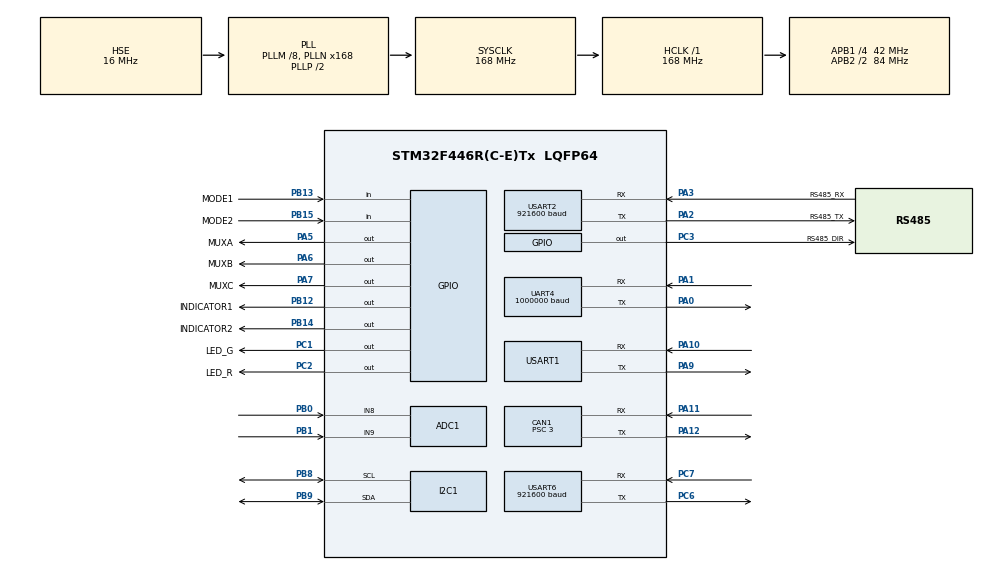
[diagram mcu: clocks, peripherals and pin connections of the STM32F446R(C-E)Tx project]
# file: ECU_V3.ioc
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ADC1.Channel-10\#ChannelRegularConversion=ADC_CHANNEL_8
ADC1.Channel-11\#ChannelRegularConversion=ADC_CHANNEL_9
ADC1.ClockPrescaler=ADC_CLOCK_SYNC_PCLK_DIV4
ADC1.ContinuousConvMode=ENABLE
ADC1.DMAContinuousRequests=ENABLE
ADC1.NbrOfConversion=2
ADC1.NbrOfConversionFlag=1
ADC1.Rank-10\#ChannelRegularConversion=1
ADC1.Rank-11\#ChannelRegularConversion=2
ADC1.SamplingTime-10\#ChannelRegularConversion=ADC_SAMPLETIME_480CYCLES
ADC1.SamplingTime-11\#ChannelRegularConversion=ADC_SAMPLETIME_480CYCLES
ADC1.master=1
CAN1.BS1=CAN_BS1_10TQ
CAN1.BS2=CAN_BS2_3TQ
CAN1.CalculateBaudRate=1000000
CAN1.CalculateTimeBit=1000
CAN1.CalculateTimeQuantum=71.42857142857143
CAN1.Prescaler=3
CAN1.SJW=CAN_SJW_3TQ
CAN1.TXFP=ENABLE
Dma.ADC1.4.Direction=DMA_PERIPH_TO_MEMORY
Dma.ADC1.4.FIFOMode=DMA_FIFOMODE_DISABLE
Dma.ADC1.4.Instance=DMA2_Stream0
Dma.ADC1.4.MemDataAlignment=DMA_MDATAALIGN_HALFWORD
Dma.ADC1.4.MemInc=DMA_MINC_ENABLE
Dma.ADC1.4.Mode=DMA_CIRCULAR
Dma.ADC1.4.PeriphDataAlignment=DMA_PDATAALIGN_HALFWORD
Dma.ADC1.4.PeriphInc=DMA_PINC_DISABLE
Dma.ADC1.4.Priority=DMA_PRIORITY_LOW
Dma.Request0=USART1_RX
Dma.Request1=USART2_RX
Dma.Request2=USART2_TX
Dma.Request3=USART6_RX
Dma.Request4=ADC1
Dma.Request5=UART4_RX
Dma.Request6=UART4_TX
Dma.UART4_RX.5.Direction=DMA_PERIPH_TO_MEMORY
Dma.UART4_RX.5.FIFOMode=DMA_FIFOMODE_DISABLE
Dma.UART4_RX.5.Instance=DMA1_Stream2
Dma.UART4_RX.5.MemDataAlignment=DMA_MDATAALIGN_BYTE
Dma.UART4_RX.5.MemInc=DMA_MINC_ENABLE
Dma.UART4_RX.5.Mode=DMA_CIRCULAR
Dma.UART4_RX.5.PeriphDataAlignment=DMA_PDATAALIGN_BYTE
Dma.UART4_RX.5.PeriphInc=DMA_PINC_DISABLE
Dma.UART4_RX.5.Priority=DMA_PRIORITY_LOW
Dma.UART4_TX.6.Direction=DMA_MEMORY_TO_PERIPH
Dma.UART4_TX.6.FIFOMode=DMA_FIFOMODE_DISABLE
Dma.UART4_TX.6.Instance=DMA1_Stream4
Dma.UART4_TX.6.MemDataAlignment=DMA_MDATAALIGN_BYTE
Dma.UART4_TX.6.MemInc=DMA_MINC_ENABLE
Dma.UART4_TX.6.Mode=DMA_NORMAL
Dma.UART4_TX.6.PeriphDataAlignment=DMA_PDATAALIGN_BYTE
Dma.UART4_TX.6.PeriphInc=DMA_PINC_DISABLE
Dma.UART4_TX.6.Priority=DMA_PRIORITY_LOW
Dma.USART1_RX.0.Direction=DMA_PERIPH_TO_MEMORY
Dma.USART1_RX.0.FIFOMode=DMA_FIFOMODE_DISABLE
Dma.USART1_RX.0.Instance=DMA2_Stream2
Dma.USART1_RX.0.MemDataAlignment=DMA_MDATAALIGN_BYTE
Dma.USART1_RX.0.MemInc=DMA_MINC_ENABLE
Dma.USART1_RX.0.Mode=DMA_CIRCULAR
Dma.USART1_RX.0.PeriphDataAlignment=DMA_PDATAALIGN_BYTE
Dma.USART1_RX.0.PeriphInc=DMA_PINC_DISABLE
Dma.USART1_RX.0.Priority=DMA_PRIORITY_LOW
Dma.USART2_RX.1.Direction=DMA_PERIPH_TO_MEMORY
Dma.USART2_RX.1.FIFOMode=DMA_FIFOMODE_DISABLE
Dma.USART2_RX.1.Instance=DMA1_Stream5
Dma.USART2_RX.1.MemDataAlignment=DMA_MDATAALIGN_BYTE
Dma.USART2_RX.1.MemInc=DMA_MINC_ENABLE
Dma.USART2_RX.1.Mode=DMA_CIRCULAR
Dma.USART2_RX.1.PeriphDataAlignment=DMA_PDATAALIGN_BYTE
Dma.USART2_RX.1.PeriphInc=DMA_PINC_DISABLE
Dma.USART2_RX.1.Priority=DMA_PRIORITY_MEDIUM
Dma.USART2_TX.2.Direction=DMA_MEMORY_TO_PERIPH
Dma.USART2_TX.2.FIFOMode=DMA_FIFOMODE_DISABLE
Dma.USART2_TX.2.Instance=DMA1_Stream6
Dma.USART2_TX.2.MemDataAlignment=DMA_MDATAALIGN_BYTE
Dma.USART2_TX.2.MemInc=DMA_MINC_ENABLE
Dma.USART2_TX.2.Mode=DMA_NORMAL
Dma.USART2_TX.2.PeriphDataAlignment=DMA_PDATAALIGN_BYTE
Dma.USART2_TX.2.PeriphInc=DMA_PINC_DISABLE
Dma.USART2_TX.2.Priority=DMA_PRIORITY_LOW
Dma.USART6_RX.3.Direction=DMA_PERIPH_TO_MEMORY
Dma.USART6_RX.3.FIFOMode=DMA_FIFOMODE_DISABLE
Dma.USART6_RX.3.Instance=DMA2_Stream1
Dma.USART6_RX.3.MemDataAlignment=DMA_MDATAALIGN_BYTE
Dma.USART6_RX.3.MemInc=DMA_MINC_ENABLE
Dma.USART6_RX.3.Mode=DMA_CIRCULAR
Dma.USART6_RX.3.PeriphDataAlignment=DMA_PDATAALIGN_BYTE
Dma.USART6_RX.3.PeriphInc=DMA_PINC_DISABLE
Dma.USART6_RX.3.Priority=DMA_PRIORITY_LOW
FREERTOS.Queues01=canTxQueue,16,CAN_Tx_Packet_t,0,Dynamic,NULL,NULL
FREERTOS.Tasks01=defaultTask,24,512,StartDefaultTask,Default,NULL,Dynamic,NULL,NULL;controlTask,24,1024,StartControl,Default,NULL,Dynamic,NULL,NULL;rs485Task,24,512,Start_rs485,Default,NULL,Dynamic,NULL,NULL;can1Task,24,512,Start_can1,Default,NULL,Dynamic,NULL,NULL;i2c1Task,8,512,Start_i2c1,Default,NULL,Dynamic,NULL,NULL;rcTask,24,512,StartRC,Default,NULL,Dynamic,NULL,NULL;systemTask,24,1024,StartSystem,Default,NULL,Dynamic,NULL,NULL;imuTask,24,512,StartIMU,Default,NULL,Dynamic,NULL,NULL;adcTask,8,512,Start_adc1,Default,NULL,Dynamic,NULL,NULL;encoderTask,32,512,StartEncoder,Default,NULL,Dynamic,NULL,NULL
FREERTOS.configTOTAL_HEAP_SIZE=30720
I2C1.I2C_Mode=I2C_Fast
Mcu.Family=STM32F4
Mcu.Name=STM32F446R(C-E)Tx
Mcu.Package=LQFP64
NVIC.CAN1_RX0_IRQn=true\:5\:0\:false\:false\:true\:true\:true\:true\:true
NVIC.CAN1_SCE_IRQn=true\:5\:0\:false\:false\:true\:true\:true\:true\:true
NVIC.DMA1_Stream2_IRQn=true\:5\:0\:false\:false\:true\:true\:false\:true\:true
NVIC.DMA1_Stream4_IRQn=true\:5\:0\:false\:false\:true\:true\:false\:true\:true
NVIC.DMA1_Stream5_IRQn=true\:5\:0\:false\:false\:true\:true\:false\:true\:true
NVIC.DMA1_Stream6_IRQn=true\:5\:0\:false\:false\:true\:true\:false\:true\:true
NVIC.DMA2_Stream0_IRQn=true\:5\:0\:false\:false\:true\:true\:false\:true\:true
NVIC.DMA2_Stream1_IRQn=true\:5\:0\:false\:false\:true\:true\:false\:true\:true
NVIC.DMA2_Stream2_IRQn=true\:5\:0\:false\:false\:true\:true\:false\:true\:true
NVIC.PriorityGroup=NVIC_PRIORITYGROUP_4
NVIC.TIM5_IRQn=true\:5\:0\:false\:false\:true\:true\:true\:true\:true
NVIC.TIM6_DAC_IRQn=true\:15\:0\:false\:false\:true\:false\:false\:true\:true
NVIC.TimeBase=TIM6_DAC_IRQn
NVIC.TimeBaseIP=TIM6
NVIC.UART4_IRQn=true\:5\:0\:false\:false\:true\:true\:true\:true\:true
NVIC.USART1_IRQn=true\:5\:0\:false\:false\:true\:true\:true\:true\:true
NVIC.USART2_IRQn=true\:5\:0\:false\:false\:true\:true\:false\:true\:true
NVIC.USART6_IRQn=true\:5\:0\:false\:false\:true\:true\:true\:true\:true
PA0-WKUP.Mode=Asynchronous
PA0-WKUP.Signal=UART4_TX
PA1.Mode=Asynchronous
PA1.Signal=UART4_RX
PA10.Mode=Asynchronous
PA10.Signal=USART1_RX
PA11.Mode=CAN_Activate
PA11.Signal=CAN1_RX
PA12.Mode=CAN_Activate
PA12.Signal=CAN1_TX
PA13.Mode=Trace_Asynchronous_SW
PA13.Signal=SYS_JTMS-SWDIO
PA14.Mode=Trace_Asynchronous_SW
PA14.Signal=SYS_JTCK-SWCLK
PA2.GPIO_Label=RS485_TX
PA2.Mode=Asynchronous
PA2.Signal=USART2_TX
PA3.GPIO_Label=RS485_RX
PA3.Mode=Asynchronous
PA3.Signal=USART2_RX
PA5.GPIO_Label=MUXA
PA5.Signal=GPIO_Output
PA6.GPIO_Label=MUXB
PA6.Signal=GPIO_Output
PA7.GPIO_Label=MUXC
PA7.Signal=GPIO_Output
PA9.Mode=Asynchronous
PA9.Signal=USART1_TX
PB0.Signal=ADCx_IN8
PB1.Signal=ADCx_IN9
PB12.GPIO_Label=INDICATOR1
PB12.Signal=GPIO_Output
PB13.GPIO_Label=MODE1
PB13.GPIO_PuPd=GPIO_NOPULL
PB13.Signal=GPIO_Input
PB14.GPIO_Label=INDICATOR2
PB14.Signal=GPIO_Output
PB15.GPIO_Label=MODE2
PB15.GPIO_PuPd=GPIO_NOPULL
PB15.Signal=GPIO_Input
PB3.Mode=Trace_Asynchronous_SW
PB3.Signal=SYS_JTDO-SWO
PB8.Mode=I2C
PB8.Signal=I2C1_SCL
PB9.Mode=I2C
PB9.Signal=I2C1_SDA
PC1.GPIO_Label=LED_G
PC1.Signal=GPIO_Output
PC2.GPIO_Label=LED_R
PC2.Signal=GPIO_Output
PC3.GPIO_Label=RS485_DIR
PC3.Signal=GPIO_Output
PC6.Mode=Asynchronous
PC6.Signal=USART6_TX
PC7.Mode=Asynchronous
PC7.Signal=USART6_RX
PH0-OSC_IN.Mode=HSE-External-Oscillator
PH0-OSC_IN.Signal=RCC_OSC_IN
PH1-OSC_OUT.Mode=HSE-External-Oscillator
PH1-OSC_OUT.Signal=RCC_OSC_OUT
ProjectManager.HeapSize=0x200
ProjectManager.StackSize=0x400
ProjectManager.TargetToolchain=STM32CubeIDE
RCC.AHBFreq_Value=168000000
RCC.APB1CLKDivider=RCC_HCLK_DIV4
RCC.APB1Freq_Value=42000000
RCC.APB1TimFreq_Value=84000000
RCC.APB2CLKDivider=RCC_HCLK_DIV2
RCC.APB2Freq_Value=84000000
RCC.APB2TimFreq_Value=168000000
RCC.CortexFreq_Value=168000000
RCC.HCLKFreq_Value=168000000
RCC.HSE_VALUE=16000000
RCC.PLLM=8
RCC.PLLN=168
RCC.PLLSourceVirtual=RCC_PLLSOURCE_HSE
RCC.SYSCLKFreq_VALUE=168000000
RCC.SYSCLKSource=RCC_SYSCLKSOURCE_PLLCLK
RCC.USBFreq_Value=168000000
RCC.VCOOutputFreq_Value=336000000
SH.ADCx_IN8.0=ADC1_IN8,IN8
SH.ADCx_IN9.0=ADC1_IN9,IN9
TIM5.AutoReloadPreload=TIM_AUTORELOAD_PRELOAD_ENABLE
TIM5.Period=4294967295
TIM5.Prescaler=8399
UART4.BaudRate=1000000
UART4.VirtualMode=Asynchronous
USART1.VirtualMode=VM_ASYNC
USART2.BaudRate=921600
USART2.VirtualMode=VM_ASYNC
USART6.BaudRate=921600
USART6.VirtualMode=VM_ASYNC
VP_FREERTOS_VS_CMSIS_V2.Mode=CMSIS_V2
VP_SYS_VS_tim6.Mode=TIM6
VP_TIM5_VS_ClockSourceINT.Mode=Internal
board=custom

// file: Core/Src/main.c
/* USER CODE BEGIN Header */
/**
  ******************************************************************************
  * @file           : main.c
  * @brief          : Main program body
  ******************************************************************************
  * @attention
  *
  * Copyright (c) 2026 STMicroelectronics.
  * All rights reserved.
  *
  * This software is licensed under terms that can be found in the LICENSE file
  * in the root directory of this software component.
  * If no LICENSE file comes with this software, it is provided AS-IS.
  *
  ******************************************************************************
  */
/* USER CODE END Header */
#include "main.h"
#include "cmsis_os.h"

/* USER CODE BEGIN Includes */
#include "rd_common.h"
#include "rd_define.h"

#include "rd_uart.h"
#include "rd_comm_ecu.h"
#include "rd_comm_receive.h"
#include "rd_peripheral_ecu.h"
#include "rd_map_ecu.h"
#include "rd_system.h"
/* USER CODE END Includes */

ADC_HandleTypeDef hadc1;
DMA_HandleTypeDef hdma_adc1;

CAN_HandleTypeDef hcan1;

I2C_HandleTypeDef hi2c1;

TIM_HandleTypeDef htim5;

UART_HandleTypeDef huart4;
UART_HandleTypeDef huart1;
UART_HandleTypeDef huart2;
UART_HandleTypeDef huart6;
DMA_HandleTypeDef hdma_uart4_rx;
DMA_HandleTypeDef hdma_uart4_tx;
DMA_HandleTypeDef hdma_usart1_rx;
DMA_HandleTypeDef hdma_usart2_rx;
DMA_HandleTypeDef hdma_usart2_tx;
DMA_HandleTypeDef hdma_usart6_rx;

/* Definitions for defaultTask */
osThreadId_t defaultTaskHandle;
const osThreadAttr_t defaultTask_attributes = {
  .name = "defaultTask",
  .stack_size = 512 * 4,
  .priority = (osPriority_t) osPriorityNormal,
};
/* Definitions for controlTask */
osThreadId_t controlTaskHandle;
const osThreadAttr_t controlTask_attributes = {
  .name = "controlTask",
  .stack_size = 1024 * 4,
  .priority = (osPriority_t) osPriorityNormal,
};
/* Definitions for rs485Task */
osThreadId_t rs485TaskHandle;
const osThreadAttr_t rs485Task_attributes = {
  .name = "rs485Task",
  .stack_size = 512 * 4,
  .priority = (osPriority_t) osPriorityNormal,
};
/* Definitions for can1Task */
osThreadId_t can1TaskHandle;
const osThreadAttr_t can1Task_attributes = {
  .name = "can1Task",
  .stack_size = 512 * 4,
  .priority = (osPriority_t) osPriorityNormal,
};
/* Definitions for i2c1Task */
osThreadId_t i2c1TaskHandle;
const osThreadAttr_t i2c1Task_attributes = {
  .name = "i2c1Task",
  .stack_size = 512 * 4,
  .priority = (osPriority_t) osPriorityLow,
};
/* Definitions for rcTask */
osThreadId_t rcTaskHandle;
const osThreadAttr_t rcTask_attributes = {
  .name = "rcTask",
  .stack_size = 512 * 4,
  .priority = (osPriority_t) osPriorityNormal,
};
/* Definitions for systemTask */
osThreadId_t systemTaskHandle;
const osThreadAttr_t systemTask_attributes = {
  .name = "systemTask",
  .stack_size = 1024 * 4,
  .priority = (osPriority_t) osPriorityNormal,
};
/* Definitions for imuTask */
osThreadId_t imuTaskHandle;
const osThreadAttr_t imuTask_attributes = {
  .name = "imuTask",
  .stack_size = 512 * 4,
  .priority = (osPriority_t) osPriorityNormal,
};
/* Definitions for adcTask */
osThreadId_t adcTaskHandle;
const osThreadAttr_t adcTask_attributes = {
  .name = "adcTask",
  .stack_size = 512 * 4,
  .priority = (osPriority_t) osPriorityLow,
};
/* Definitions for encoderTask */
osThreadId_t encoderTaskHandle;
const osThreadAttr_t encoderTask_attributes = {
  .name = "encoderTask",
  .stack_size = 512 * 4,
  .priority = (osPriority_t) osPriorityAboveNormal,
};
/* Definitions for canTxQueue */
osMessageQueueId_t canTxQueueHandle;
const osMessageQueueAttr_t canTxQueue_attributes = {
  .name = "canTxQueue"
};

void SystemClock_Config(void);
static void MX_GPIO_Init(void);
static void MX_DMA_Init(void);
static void MX_CAN1_Init(void);
static void MX_I2C1_Init(void);
static void MX_USART1_UART_Init(void);
static void MX_USART2_UART_Init(void);
static void MX_TIM5_Init(void);
static void MX_USART6_UART_Init(void);
static void MX_ADC1_Init(void);
static void MX_UART4_Init(void);
void StartDefaultTask(void *argument);
void StartControl(void *argument);
void Start_rs485(void *argument);
void Start_can1(void *argument);
void Start_i2c1(void *argument);
void StartRC(void *argument);
void StartSystem(void *argument);
void StartIMU(void *argument);
void Start_adc1(void *argument);
void StartEncoder(void *argument);

int main(void)
{

  /* MCU Configuration--------------------------------------------------------*/

  /* Reset of all peripherals, Initializes the Flash interface and the Systick. */
  HAL_Init();

  /* Configure the system clock */
  SystemClock_Config();

  /* USER CODE BEGIN SysInit */
  HAL_Delay(500); //soft start for osc
  /* USER CODE END SysInit */

  /* Initialize all configured peripherals */
  MX_GPIO_Init();
  MX_DMA_Init();
  MX_CAN1_Init();
  MX_I2C1_Init();
  MX_USART1_UART_Init();
  MX_USART2_UART_Init();
  MX_TIM5_Init();
  MX_USART6_UART_Init();
  MX_ADC1_Init();
  MX_UART4_Init();
  /* USER CODE BEGIN 2 */
  RD_SYSTEM_INIT();
  /* USER CODE END 2 */

  /* Init scheduler */
  osKernelInitialize();

  /* Create the queue(s) */
  /* creation of canTxQueue */
  canTxQueueHandle = osMessageQueueNew (16, sizeof(CAN_Tx_Packet_t), &canTxQueue_attributes);

  /* Create the thread(s) */
  /* creation of defaultTask */
  defaultTaskHandle = osThreadNew(StartDefaultTask, NULL, &defaultTask_attributes);

  /* creation of controlTask */
  controlTaskHandle = osThreadNew(StartControl, NULL, &controlTask_attributes);

  /* creation of rs485Task */
  rs485TaskHandle = osThreadNew(Start_rs485, NULL, &rs485Task_attributes);

  /* creation of can1Task */
  can1TaskHandle = osThreadNew(Start_can1, NULL, &can1Task_attributes);

  /* creation of i2c1Task */
  i2c1TaskHandle = osThreadNew(Start_i2c1, NULL, &i2c1Task_attributes);

  /* creation of rcTask */
  rcTaskHandle = osThreadNew(StartRC, NULL, &rcTask_attributes);

  /* creation of systemTask */
  systemTaskHandle = osThreadNew(StartSystem, NULL, &systemTask_attributes);

  /* creation of imuTask */
  imuTaskHandle = osThreadNew(StartIMU, NULL, &imuTask_attributes);

  /* creation of adcTask */
  adcTaskHandle = osThreadNew(Start_adc1, NULL, &adcTask_attributes);

  /* creation of encoderTask */
  encoderTaskHandle = osThreadNew(StartEncoder, NULL, &encoderTask_attributes);

  /* Start scheduler */
  osKernelStart();

  /* We should never get here as control is now taken by the scheduler */

  /* Infinite loop */
  while (1)
  {

  }
}

void SystemClock_Config(void)
{
  RCC_OscInitTypeDef RCC_OscInitStruct = {0};
  RCC_ClkInitTypeDef RCC_ClkInitStruct = {0};

  /** Configure the main internal regulator output voltage
  */
  __HAL_RCC_PWR_CLK_ENABLE();
  __HAL_PWR_VOLTAGESCALING_CONFIG(PWR_REGULATOR_VOLTAGE_SCALE1);

  /** Initializes the RCC Oscillators according to the specified parameters
  * in the RCC_OscInitTypeDef structure.
  */
  RCC_OscInitStruct.OscillatorType = RCC_OSCILLATORTYPE_HSE;
  RCC_OscInitStruct.HSEState = RCC_HSE_ON;
  RCC_OscInitStruct.PLL.PLLState = RCC_PLL_ON;
  RCC_OscInitStruct.PLL.PLLSource = RCC_PLLSOURCE_HSE;
  RCC_OscInitStruct.PLL.PLLM = 8;
  RCC_OscInitStruct.PLL.PLLN = 168;
  RCC_OscInitStruct.PLL.PLLP = RCC_PLLP_DIV2;
  RCC_OscInitStruct.PLL.PLLQ = 2;
  RCC_OscInitStruct.PLL.PLLR = 2;
  if (HAL_RCC_OscConfig(&RCC_OscInitStruct) != HAL_OK)
  {
    Error_Handler();
  }

  /** Initializes the CPU, AHB and APB buses clocks
  */
  RCC_ClkInitStruct.ClockType = RCC_CLOCKTYPE_HCLK|RCC_CLOCKTYPE_SYSCLK
                              |RCC_CLOCKTYPE_PCLK1|RCC_CLOCKTYPE_PCLK2;
  RCC_ClkInitStruct.SYSCLKSource = RCC_SYSCLKSOURCE_PLLCLK;
  RCC_ClkInitStruct.AHBCLKDivider = RCC_SYSCLK_DIV1;
  RCC_ClkInitStruct.APB1CLKDivider = RCC_HCLK_DIV4;
  RCC_ClkInitStruct.APB2CLKDivider = RCC_HCLK_DIV2;

  if (HAL_RCC_ClockConfig(&RCC_ClkInitStruct, FLASH_LATENCY_5) != HAL_OK)
  {
    Error_Handler();
  }
}

static void MX_ADC1_Init(void)
{

  ADC_ChannelConfTypeDef sConfig = {0};

  /** Configure the global features of the ADC (Clock, Resolution, Data Alignment and number of conversion)
  */
  hadc1.Instance = ADC1;
  hadc1.Init.ClockPrescaler = ADC_CLOCK_SYNC_PCLK_DIV4;
  hadc1.Init.Resolution = ADC_RESOLUTION_12B;
  hadc1.Init.ScanConvMode = ENABLE;
  hadc1.Init.ContinuousConvMode = ENABLE;
  hadc1.Init.DiscontinuousConvMode = DISABLE;
  hadc1.Init.ExternalTrigConvEdge = ADC_EXTERNALTRIGCONVEDGE_NONE;
  hadc1.Init.ExternalTrigConv = ADC_SOFTWARE_START;
  hadc1.Init.DataAlign = ADC_DATAALIGN_RIGHT;
  hadc1.Init.NbrOfConversion = 2;
  hadc1.Init.DMAContinuousRequests = ENABLE;
  hadc1.Init.EOCSelection = ADC_EOC_SINGLE_CONV;
  if (HAL_ADC_Init(&hadc1) != HAL_OK)
  {
    Error_Handler();
  }

  /** Configure for the selected ADC regular channel its corresponding rank in the sequencer and its sample time.
  */
  sConfig.Channel = ADC_CHANNEL_8;
  sConfig.Rank = 1;
  sConfig.SamplingTime = ADC_SAMPLETIME_480CYCLES;
  if (HAL_ADC_ConfigChannel(&hadc1, &sConfig) != HAL_OK)
  {
    Error_Handler();
  }

  /** Configure for the selected ADC regular channel its corresponding rank in the sequencer and its sample time.
  */
  sConfig.Channel = ADC_CHANNEL_9;
  sConfig.Rank = 2;
  if (HAL_ADC_ConfigChannel(&hadc1, &sConfig) != HAL_OK)
  {
    Error_Handler();
  }

}

static void MX_CAN1_Init(void)
{

  hcan1.Instance = CAN1;
  hcan1.Init.Prescaler = 3;
  hcan1.Init.Mode = CAN_MODE_NORMAL;
  hcan1.Init.SyncJumpWidth = CAN_SJW_3TQ;
  hcan1.Init.TimeSeg1 = CAN_BS1_10TQ;
  hcan1.Init.TimeSeg2 = CAN_BS2_3TQ;
  hcan1.Init.TimeTriggeredMode = DISABLE;
  hcan1.Init.AutoBusOff = DISABLE;
  hcan1.Init.AutoWakeUp = DISABLE;
  hcan1.Init.AutoRetransmission = DISABLE;
  hcan1.Init.ReceiveFifoLocked = DISABLE;
  hcan1.Init.TransmitFifoPriority = ENABLE;
  if (HAL_CAN_Init(&hcan1) != HAL_OK)
  {
    Error_Handler();
  }

}

static void MX_I2C1_Init(void)
{

  hi2c1.Instance = I2C1;
  hi2c1.Init.ClockSpeed = 400000;
  hi2c1.Init.DutyCycle = I2C_DUTYCYCLE_2;
  hi2c1.Init.OwnAddress1 = 0;
  hi2c1.Init.AddressingMode = I2C_ADDRESSINGMODE_7BIT;
  hi2c1.Init.DualAddressMode = I2C_DUALADDRESS_DISABLE;
  hi2c1.Init.OwnAddress2 = 0;
  hi2c1.Init.GeneralCallMode = I2C_GENERALCALL_DISABLE;
  hi2c1.Init.NoStretchMode = I2C_NOSTRETCH_DISABLE;
  if (HAL_I2C_Init(&hi2c1) != HAL_OK)
  {
    Error_Handler();
  }

}

static void MX_TIM5_Init(void)
{

  TIM_ClockConfigTypeDef sClockSourceConfig = {0};
  TIM_MasterConfigTypeDef sMasterConfig = {0};

  htim5.Instance = TIM5;
  htim5.Init.Prescaler = 8399;
  htim5.Init.CounterMode = TIM_COUNTERMODE_UP;
  htim5.Init.Period = 4294967295;
  htim5.Init.ClockDivision = TIM_CLOCKDIVISION_DIV1;
  htim5.Init.AutoReloadPreload = TIM_AUTORELOAD_PRELOAD_ENABLE;
  if (HAL_TIM_Base_Init(&htim5) != HAL_OK)
  {
    Error_Handler();
  }
  sClockSourceConfig.ClockSource = TIM_CLOCKSOURCE_INTERNAL;
  if (HAL_TIM_ConfigClockSource(&htim5, &sClockSourceConfig) != HAL_OK)
  {
    Error_Handler();
  }
  sMasterConfig.MasterOutputTrigger = TIM_TRGO_RESET;
  sMasterConfig.MasterSlaveMode = TIM_MASTERSLAVEMODE_DISABLE;
  if (HAL_TIMEx_MasterConfigSynchronization(&htim5, &sMasterConfig) != HAL_OK)
  {
    Error_Handler();
  }

}

static void MX_UART4_Init(void)
{

  huart4.Instance = UART4;
  huart4.Init.BaudRate = 1000000;
  huart4.Init.WordLength = UART_WORDLENGTH_8B;
  huart4.Init.StopBits = UART_STOPBITS_1;
  huart4.Init.Parity = UART_PARITY_NONE;
  huart4.Init.Mode = UART_MODE_TX_RX;
  huart4.Init.HwFlowCtl = UART_HWCONTROL_NONE;
  huart4.Init.OverSampling = UART_OVERSAMPLING_16;
  if (HAL_UART_Init(&huart4) != HAL_OK)
  {
    Error_Handler();
  }

}

static void MX_USART1_UART_Init(void)
{

  huart1.Instance = USART1;
  huart1.Init.BaudRate = 115200;
  huart1.Init.WordLength = UART_WORDLENGTH_8B;
  huart1.Init.StopBits = UART_STOPBITS_1;
  huart1.Init.Parity = UART_PARITY_NONE;
  huart1.Init.Mode = UART_MODE_TX_RX;
  huart1.Init.HwFlowCtl = UART_HWCONTROL_NONE;
  huart1.Init.OverSampling = UART_OVERSAMPLING_16;
  if (HAL_UART_Init(&huart1) != HAL_OK)
  {
    Error_Handler();
  }

}

static void MX_USART2_UART_Init(void)
{

  huart2.Instance = USART2;
  huart2.Init.BaudRate = 921600;
  huart2.Init.WordLength = UART_WORDLENGTH_8B;
  huart2.Init.StopBits = UART_STOPBITS_1;
  huart2.Init.Parity = UART_PARITY_NONE;
  huart2.Init.Mode = UART_MODE_TX_RX;
  huart2.Init.HwFlowCtl = UART_HWCONTROL_NONE;
  huart2.Init.OverSampling = UART_OVERSAMPLING_16;
  if (HAL_UART_Init(&huart2) != HAL_OK)
  {
    Error_Handler();
  }

}

static void MX_USART6_UART_Init(void)
{

  huart6.Instance = USART6;
  huart6.Init.BaudRate = 921600;
  huart6.Init.WordLength = UART_WORDLENGTH_8B;
  huart6.Init.StopBits = UART_STOPBITS_1;
  huart6.Init.Parity = UART_PARITY_NONE;
  huart6.Init.Mode = UART_MODE_TX_RX;
  huart6.Init.HwFlowCtl = UART_HWCONTROL_NONE;
  huart6.Init.OverSampling = UART_OVERSAMPLING_16;
  if (HAL_UART_Init(&huart6) != HAL_OK)
  {
    Error_Handler();
  }

}

static void MX_DMA_Init(void)
{

  /* DMA controller clock enable */
  __HAL_RCC_DMA2_CLK_ENABLE();
  __HAL_RCC_DMA1_CLK_ENABLE();

  /* DMA interrupt init */
  /* DMA1_Stream2_IRQn interrupt configuration */
  HAL_NVIC_SetPriority(DMA1_Stream2_IRQn, 5, 0);
  HAL_NVIC_EnableIRQ(DMA1_Stream2_IRQn);
  /* DMA1_Stream4_IRQn interrupt configuration */
  HAL_NVIC_SetPriority(DMA1_Stream4_IRQn, 5, 0);
  HAL_NVIC_EnableIRQ(DMA1_Stream4_IRQn);
  /* DMA1_Stream5_IRQn interrupt configuration */
  HAL_NVIC_SetPriority(DMA1_Stream5_IRQn, 5, 0);
  HAL_NVIC_EnableIRQ(DMA1_Stream5_IRQn);
  /* DMA1_Stream6_IRQn interrupt configuration */
  HAL_NVIC_SetPriority(DMA1_Stream6_IRQn, 5, 0);
  HAL_NVIC_EnableIRQ(DMA1_Stream6_IRQn);
  /* DMA2_Stream0_IRQn interrupt configuration */
  HAL_NVIC_SetPriority(DMA2_Stream0_IRQn, 5, 0);
  HAL_NVIC_EnableIRQ(DMA2_Stream0_IRQn);
  /* DMA2_Stream1_IRQn interrupt configuration */
  HAL_NVIC_SetPriority(DMA2_Stream1_IRQn, 5, 0);
  HAL_NVIC_EnableIRQ(DMA2_Stream1_IRQn);
  /* DMA2_Stream2_IRQn interrupt configuration */
  HAL_NVIC_SetPriority(DMA2_Stream2_IRQn, 5, 0);
  HAL_NVIC_EnableIRQ(DMA2_Stream2_IRQn);

}

static void MX_GPIO_Init(void)
{
  GPIO_InitTypeDef GPIO_InitStruct = {0};

  /* GPIO Ports Clock Enable */
  __HAL_RCC_GPIOH_CLK_ENABLE();
  __HAL_RCC_GPIOC_CLK_ENABLE();
  __HAL_RCC_GPIOA_CLK_ENABLE();
  __HAL_RCC_GPIOB_CLK_ENABLE();

  /*Configure GPIO pin Output Level */
  HAL_GPIO_WritePin(GPIOC, LED_G_Pin|LED_R_Pin|RS485_DIR_Pin, GPIO_PIN_RESET);

  /*Configure GPIO pin Output Level */
  HAL_GPIO_WritePin(GPIOA, MUXA_Pin|MUXB_Pin|MUXC_Pin, GPIO_PIN_RESET);

  /*Configure GPIO pin Output Level */
  HAL_GPIO_WritePin(GPIOB, INDICATOR1_Pin|INDICATOR2_Pin, GPIO_PIN_RESET);

  /*Configure GPIO pins : LED_G_Pin LED_R_Pin RS485_DIR_Pin */
  GPIO_InitStruct.Pin = LED_G_Pin|LED_R_Pin|RS485_DIR_Pin;
  GPIO_InitStruct.Mode = GPIO_MODE_OUTPUT_PP;
  GPIO_InitStruct.Pull = GPIO_NOPULL;
  GPIO_InitStruct.Speed = GPIO_SPEED_FREQ_LOW;
  HAL_GPIO_Init(GPIOC, &GPIO_InitStruct);

  /*Configure GPIO pins : MUXA_Pin MUXB_Pin MUXC_Pin */
  GPIO_InitStruct.Pin = MUXA_Pin|MUXB_Pin|MUXC_Pin;
  GPIO_InitStruct.Mode = GPIO_MODE_OUTPUT_PP;
  GPIO_InitStruct.Pull = GPIO_NOPULL;
  GPIO_InitStruct.Speed = GPIO_SPEED_FREQ_LOW;
  HAL_GPIO_Init(GPIOA, &GPIO_InitStruct);

  /*Configure GPIO pins : INDICATOR1_Pin INDICATOR2_Pin */
  GPIO_InitStruct.Pin = INDICATOR1_Pin|INDICATOR2_Pin;
  GPIO_InitStruct.Mode = GPIO_MODE_OUTPUT_PP;
  GPIO_InitStruct.Pull = GPIO_NOPULL;
  GPIO_InitStruct.Speed = GPIO_SPEED_FREQ_LOW;
  HAL_GPIO_Init(GPIOB, &GPIO_InitStruct);

  /*Configure GPIO pins : MODE1_Pin MODE2_Pin */
  GPIO_InitStruct.Pin = MODE1_Pin|MODE2_Pin;
  GPIO_InitStruct.Mode = GPIO_MODE_INPUT;
  GPIO_InitStruct.Pull = GPIO_NOPULL;
  HAL_GPIO_Init(GPIOB, &GPIO_InitStruct);

}

void StartDefaultTask(void *argument)
{
  /* USER CODE BEGIN 5 */
  RD_TASK_DEFAULT();
  /* USER CODE END 5 */
}

void StartControl(void *argument)
{
  /* USER CODE BEGIN StartControl */
  /* Infinite loop */
  RD_TASK_CONTROL();
  /* USER CODE END StartControl */
}

void Start_rs485(void *argument)
{
  /* USER CODE BEGIN Start_rs485 */
  /* Infinite loop */
  RD_TASK_RS485();
  /* USER CODE END Start_rs485 */
}

void Start_can1(void *argument)
{
  /* USER CODE BEGIN Start_can1 */
  RD_TASK_CAN1();
  /* USER CODE END Start_can1 */
}

void Start_i2c1(void *argument)
{
  /* USER CODE BEGIN Start_i2c1 */
  /* Infinite loop */
  RD_TASK_I2C1();
  /* USER CODE END Start_i2c1 */
}

void StartRC(void *argument)
{
  /* USER CODE BEGIN StartRC */
  RD_TASK_RC();
  /* USER CODE END StartRC */
}

void StartSystem(void *argument)
{
  /* USER CODE BEGIN StartSystem */
  RD_TASK_SYSTEM();
  /* USER CODE END StartSystem */
}

void StartIMU(void *argument)
{
  /* USER CODE BEGIN StartIMU */
  RD_TASK_IMU();
  /* USER CODE END StartIMU */
}

void Start_adc1(void *argument)
{
  /* USER CODE BEGIN Start_adc1 */
  RD_TASK_ADC1();
  /* USER CODE END Start_adc1 */
}

void StartEncoder(void *argument)
{
  /* USER CODE BEGIN StartEncoder */
  RD_TASK_ENCODER();
  /* USER CODE END StartEncoder */
}

void HAL_TIM_PeriodElapsedCallback(TIM_HandleTypeDef *htim)
{
  /* USER CODE BEGIN Callback 0 */
  /* TIM5 는 10kHz free-run 카운터(ARR=max) 전용 — update 콜백 사용 안 함 (구 RD_TIM_CALLBACK 폐기) */
  /* USER CODE END Callback 0 */
  if (htim->Instance == TIM6)
  {
    HAL_IncTick();
  }
}

void Error_Handler(void)
{
  /* USER CODE BEGIN Error_Handler_Debug */
  RD_REBOOT_HANDLE();
  /* User can add his own implementation to report the HAL error return state */
  __disable_irq();
  while (1)
  {
  }
  /* USER CODE END Error_Handler_Debug */
}
